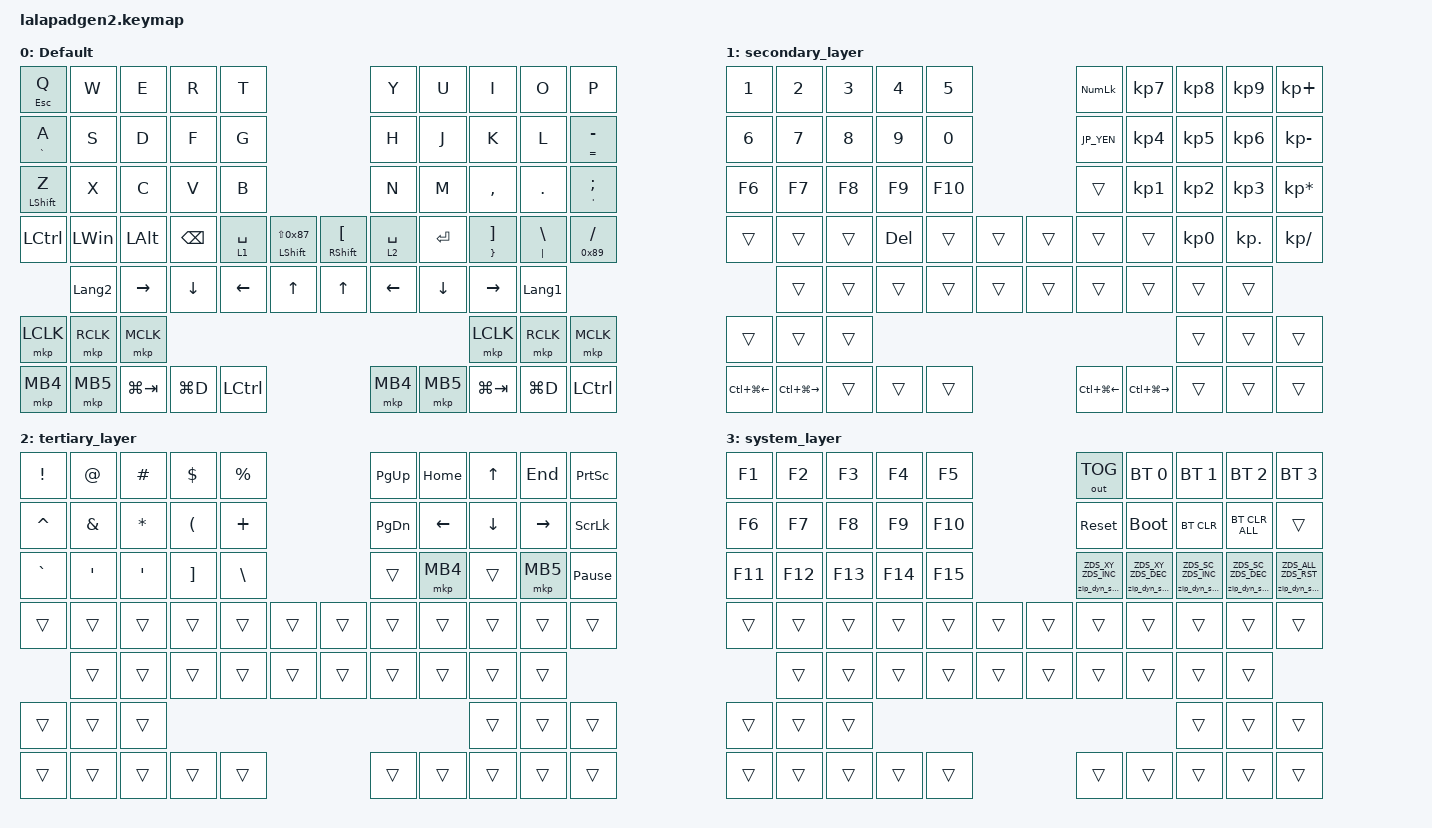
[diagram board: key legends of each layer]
#include <input/processors.dtsi>
#include <dt-bindings/zmk/zip_dynamic_scale.h>
#include <behaviors.dtsi>
#include <dt-bindings/zmk/bt.h>
#include <dt-bindings/zmk/keys.h>
#include <dt-bindings/zmk/outputs.h>
#include <dt-bindings/zmk/pointing.h>

#define DEFAULT_LAYER   0
#define SECONDARY_LAYER 1
#define TERTIARY_LAYER  2
#define SYSTEM_LAYER    3

// OS設定を日本語キーボードのまま使用するための変換定義
#define JP_DQUOTE       AT                // "
#define JP_AMPERSAND    CARET             // &
#define JP_QUOTE        AMPERSAND         // '
#define JP_EQUAL        UNDER             // =
#define JP_CARET        EQUAL             // ^
#define JP_YEN          0x89              // ¥
#define JP_PLUS         COLON             // +
#define JP_TILDE        PLUS              // ~
#define JP_PIPE         LS(0x89)          // |
#define JP_AT           LEFT_BRACKET      // @
#define JP_COLON        SINGLE_QUOTE      // :
#define JP_ASTERISK     DOUBLE_QUOTES     // *
#define JP_BACKQUOTE    LEFT_BRACE        // `
#define JP_UNDERSCORE   LS(0x87)          // _
#define JP_LBRACKET     RIGHT_BRACKET     // [
#define JP_RBRACKET     BACKSLASH         // ]
#define JP_LPAREN       ASTERISK          // (
#define JP_RPAREN       LEFT_PARENTHESIS  // )
#define JP_LBRACE       RIGHT_BRACE       // {
#define JP_RBRACE       PIPE              // }
#define JP_KANA         LANGUAGE_1        // かな
#define JP_EISU         LANGUAGE_2        // 英数
#define JP_HANZEN       GRAVE             // 半角/全角

&mt { quick-tap-ms = <200>; };

&lt { quick-tap-ms = <200>; };

/ {
    behaviors {
        zip_dyn_scale: zip_dyn_scale {
            compatible = "zmk,behavior-zip-dynamic-scale";
            #binding-cells = <2>;
        };

        zip_dyn_scale_set: zip_dyn_scale_set {
            compatible = "zmk,behavior-zip-dynamic-scale-set";
            #binding-cells = <2>;
        };

        mt2: mod_tap2 {
            compatible = "zmk,behavior-hold-tap";
            #binding-cells = <2>;
            flavor = "tap-preferred";
            tapping-term-ms = <200>;
            quick-tap-ms = <200>;
            require-prior-idle-ms = <125>;
            bindings = <&kp>, <&kp>;
        };

        tap_dance_layer_1and2: tap_dance_layer_1and2 {
            compatible = "zmk,behavior-tap-dance";
            label = "td_mo12";
            #binding-cells = <0>;
            bindings = <&mo 1>, <&mo 2>;
        };
    };

    combos {
        compatible = "zmk,combos";

        CONBO_ESC {
            bindings = <&kp ESCAPE>;
            key-positions = <0 1>;
        };

        COMBO_TAB {
            bindings = <&kp TAB>;
            key-positions = <10 11>;
        };
    };

    keymap {
        compatible = "zmk,keymap";

        DEFAULT_LAYER {
            display-name = "Default";
            bindings = <
&mt2 ESC Q         &kp W      &kp E         &kp R      &kp T                                                      &kp Y      &kp U     &kp I                       &kp O                       &kp P
&mt2 JP_HANZEN A   &kp S      &kp D         &kp F      &kp G                                                      &kp H      &kp J     &kp K                       &kp L                       &mt2 JP_CARET MINUS
&mt2 LSHIFT Z      &kp X      &kp C         &kp V      &kp B                                                      &kp N      &kp M     &kp COMMA                   &kp PERIOD                  &mt2 JP_COLON SEMI
&kp LCTRL          &kp LWIN   &kp LEFT_ALT  &kp BACKSPACE  &lt 1 SPACE &mt2 LSHIFT JP_UNDERSCORE   &mt2 RSHIFT JP_AT  &lt 2 SPACE  &kp ENTER  &mt2 JP_LBRACE JP_LBRACKET  &mt2 JP_RBRACE JP_RBRACKET  &mt2 0x89 SLASH
                   &kp JP_EISU   &kp RIGHT     &kp DOWN   &kp LEFT   &kp UP                          &kp UP         &kp LEFT   &kp DOWN  &kp RIGHT       &kp JP_KANA
&mkp LCLK          &mkp RCLK  &mkp MCLK                                                                               &mkp LCLK       &mkp RCLK       &mkp MCLK
&mkp MB4           &mkp MB5   &kp LG(TAB)   &kp LG(D)  &kp LCTRL                                 &mkp MB4   &mkp MB5  &kp LG(TAB)     &kp LG(D)       &kp LCTRL
            >;
        };

        SECONDARY_LAYER {
            display-name = "secondary_layer";
            bindings = <
&kp N1            &kp NUMBER_2       &kp NUMBER_3  &kp NUMBER_4  &kp N5                    &kp KP_NUMLOCK    &kp KP_NUMBER_7    &kp KP_NUMBER_8  &kp KP_NUMBER_9  &kp KP_PLUS
&kp NUMBER_6      &kp N7             &kp N8        &kp N9        &kp N0                    &kp JP_YEN        &kp KP_NUMBER_4    &kp KP_NUMBER_5  &kp KP_NUMBER_6  &kp KP_MINUS
&kp F6            &kp F7             &kp F8        &kp F9        &kp F10                   &trans            &kp KP_NUMBER_1    &kp KP_NUMBER_2  &kp KP_NUMBER_3  &kp KP_ASTERISK
&trans            &trans             &trans        &kp DEL       &trans   &trans  &trans  &trans            &trans             &kp KP_NUMBER_0  &kp KP_DOT       &kp KP_DIVIDE
                  &trans             &trans        &trans        &trans   &trans  &trans   &trans            &trans             &trans           &trans
&trans            &trans             &trans                                                                                     &trans           &trans           &trans
&kp LC(LG(LEFT))  &kp LC(LG(RIGHT))  &trans        &trans        &trans                    &kp LC(LG(LEFT))  &kp LC(LG(RIGHT))  &trans           &trans           &trans
            >;
        };

        TERTIARY_LAYER {
            display-name = "tertiary_layer";
            bindings = <
&kp EXCLAMATION  &kp JP_DQUOTE  &kp HASH      &kp DOLLAR            &kp PERCENT                            &kp PAGE_UP    &kp HOME  &kp UP_ARROW    &kp END    &kp PRINTSCREEN
&kp JP_AMPERSAND &kp JP_QUOTE   &kp JP_LPAREN &kp JP_RPAREN         &kp JP_TILDE                           &kp PAGE_DOWN  &kp LEFT  &kp DOWN_ARROW  &kp RIGHT  &kp SCROLLLOCK
&kp GRAVE        &kp SQT        &kp JP_COLON  &kp JP_LBRACKET       &kp JP_RBRACKET                        &trans         &mkp MB4  &trans          &mkp MB5   &kp PAUSE_BREAK
&trans           &trans         &trans        &trans                &trans                 &trans  &trans  &trans         &trans    &trans          &trans     &trans
                 &trans         &trans        &trans                &trans                 &trans  &trans  &trans         &trans    &trans          &trans
&trans           &trans         &trans                                                                                              &trans          &trans     &trans
&trans           &trans         &trans        &trans                &trans                                 &trans         &trans    &trans          &trans     &trans
            >;
        };

        SYSTEM_LAYER {
            display-name = "system_layer";
            bindings = <
&kp F1   &kp F2   &kp F3   &kp F4   &kp F5                   &out OUT_TOG                   &bt BT_SEL 0                   &bt BT_SEL 1                   &bt BT_SEL 2                   &bt BT_SEL 3
&kp F6   &kp F7   &kp F8   &kp F9   &kp F10                  &sys_reset                     &bootloader                    &bt BT_CLR                     &bt BT_CLR_ALL                 &trans
&kp F11  &kp F12  &kp F13  &kp F14  &kp F15                  &zip_dyn_scale ZDS_XY ZDS_INC  &zip_dyn_scale ZDS_XY ZDS_DEC  &zip_dyn_scale ZDS_SC ZDS_INC  &zip_dyn_scale ZDS_SC ZDS_DEC  &zip_dyn_scale ZDS_ALL ZDS_RST
&trans   &trans   &trans   &trans   &trans   &trans  &trans  &trans                         &trans                         &trans                         &trans                         &trans
         &trans   &trans   &trans   &trans   &trans  &trans  &trans                         &trans                         &trans                         &trans
&trans   &trans   &trans                                                                                                   &trans                         &trans                         &trans
&trans   &trans   &trans   &trans   &trans                   &trans                         &trans                         &trans                         &trans                         &trans
            >;
        };
    };

    conditional_layers {
        compatible = "zmk,conditional-layers";

        Cond_Syslayer {
            if-layers = <1 2>;
            then-layer = <3>;
        };
    };
};
